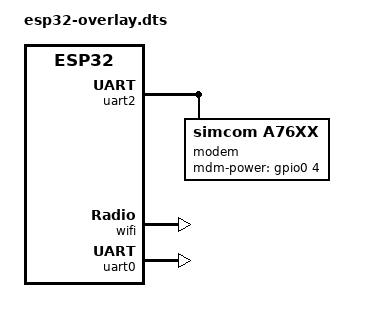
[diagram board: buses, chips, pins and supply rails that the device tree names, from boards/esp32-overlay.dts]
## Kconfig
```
source "Kconfig.zephyr"

menu "Adaptive Sockets"

config ADAPTIVE_SOCKETS_ENABLE
  bool "Enable adaptive sockets"
  default y
  help
    Enables the custom socket offload implementation to handle routing
    decisions between Wi-Fi and Cellular modem.

config ADAPTIVE_SOCKETS_PRIORITY
  int "Adaptive sockets priority"
  default 1
  range 0 99
  help
    Numerical priority for the custom offload. A lower number (e.g., 1)
    means higher priority, ensuring it is checked first.

config ADAPTIVE_SOCKETS_ENABLE_TEST
    bool "Enable adaptive sockets test mode"
    default n

endmenu
```

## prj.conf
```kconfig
# CONFIG_BOOTLOADER_MCUBOOT=y

CONFIG_LOG=y
CONFIG_LOG_DEFAULT_LEVEL=3
CONFIG_LOG_MODE_IMMEDIATE=y  
# CONFIG_LOG_MODE_MINIMAL=y
# CONFIG_NET_LOG=y
CONFIG_MODEM_LOG_LEVEL_DBG=y
# CONFIG_UART_LOG_LEVEL_DBG=y
# CONFIG_MODEM_CONTEXT_VERBOSE_DEBUG=y
CONFIG_UPDATEHUB_LOG_LEVEL_DBG=y
# CONFIG_NET_CONFIG_LOG_LEVEL_DBG=y
# CONFIG_WIFI_LOG_LEVEL_DBG=y
# CONFIG_NET_DHCPV4_LOG_LEVEL_DBG=y
# CONFIG_NET_CONTEXT_LOG_LEVEL_DBG=y
# CONFIG_NET_PKT_LOG_LEVEL_DBG=y


# # Wi-Fi Configuration
# CONFIG_WIFI=y

# # Network Configuration
# CONFIG_NET_CONFIG_AUTO_INIT=n
# CONFIG_ESP32_WIFI_STA_AUTO_DHCPV4=y
# CONFIG_NET_CONNECTION_MANAGER=y
# CONFIG_NET_IF_MAX_IPV4_COUNT=2
# CONFIG_NET_IPV4=y
# CONFIG_NET_IPV6=n
# CONFIG_NET_L2_ETHERNET=y
# CONFIG_NET_L2_WIFI_MGMT=y
# CONFIG_NET_MGMT=y
# CONFIG_NET_MGMT_EVENT=y
# CONFIG_NET_MGMT_EVENT_INFO=y
# CONFIG_NET_UDP=y
# CONFIG_NETWORKING=y
# CONFIG_COAP=y
# CONFIG_NET_SOCKETS=y
# # CONFIG_POSIX_API=y
# CONFIG_DNS_RESOLVER=n
# CONFIG_DNS_RESOLVER_AUTO_INIT=n
# CONFIG_NET_OFFLOAD=y

# # CONFIG_NET_MGMT_EVENT_QUEUE_SIZE=10
# # CONFIG_NET_MGMT_EVENT_STACK_SIZE=4096
# CONFIG_NET_PKT_RX_COUNT=8
# CONFIG_NET_PKT_TX_COUNT=8
# CONFIG_NET_BUF_RX_COUNT=20
# CONFIG_NET_BUF_TX_COUNT=20
# CONFIG_MAIN_STACK_SIZE=6114
# # CONFIG_ISR_STACK_SIZE=4096
# # CONFIG_NET_MGMT_EVENT_STACK_SIZE=5120
# CONFIG_MODEM_SIMCOM_A76XX_RX_STACK_SIZE=9216
# # CONFIG_MODEM_SIMCOM_A76XX_RX_WORKQ_STACK_SIZE=6114
# # CONFIG_NET_BUF_DATA_SIZE=512
# CONFIG_NET_RX_STACK_SIZE=4096
# # CONFIG_NET_TX_STACK_SIZE=7168
# CONFIG_HEAP_MEM_POOL_SIZE=8192
# CONFIG_SYSTEM_WORKQUEUE_STACK_SIZE=8192
# # Enable Shell
# # CONFIG_SHELL=y
# # CONFIG_SHELL_STACK_SIZE=2048


# CONFIG_MODEM=y
# CONFIG_MODEM_A76XX=y
# CONFIG_MODEM_SIM_NUMBERS=n
# CONFIG_MODEM_SIMCOM_A76XX_RAT_NB1=n
# CONFIG_MODEM_SIMCOM_A76XX_RAT_M1=n
# CONFIG_MODEM_SIMCOM_A76XX_RAT_GSM=y




# # Copyright (c) 2018-2020 O.S.Systems
# # SPDX-License-Identifier: Apache-2.0
# CONFIG_FLASH=y
# CONFIG_STREAM_FLASH=y
# CONFIG_FLASH_MAP=y
# CONFIG_REBOOT=y
# CONFIG_MCUBOOT_IMG_MANAGER=y
# CONFIG_IMG_MANAGER=y
# CONFIG_IMG_ENABLE_IMAGE_CHECK=y
# CONFIG_BOOTLOADER_MCUBOOT=y
# CONFIG_MPU_ALLOW_FLASH_WRITE=y
# CONFIG_NETWORKING=y
# CONFIG_NET_UDP=y
# CONFIG_NET_SOCKETS=y
# CONFIG_COAP=y
# CONFIG_DNS_RESOLVER=y
# CONFIG_JSON_LIBRARY=y
# CONFIG_HWINFO=y
# CONFIG_POSIX_API=y

# # Turn on the updatehub
# CONFIG_UPDATEHUB=y
# CONFIG_COAP_INIT_ACK_TIMEOUT_MS=30000

# # Heap mem pool size
# # CONFIG_HEAP_MEM_POOL_SIZE=10240

# # Network events
# CONFIG_NET_CONNECTION_MANAGER=y
# CONFIG_NET_CONFIG_SETTINGS=y
# CONFIG_NET_IPV4=y
# CONFIG_NET_DHCPV4=y
# CONFIG_NET_CONFIG_NEED_IPV4=y

# # Debug helpers
# CONFIG_MAX_THREAD_BYTES=3

# CONFIG_UPDATEHUB_PRODUCT_UID="e4d37cfe6ec48a2d069cc0bbb8b078677e9a0d8df3a027c4d8ea131130c4265f"
# CONFIG_UPDATEHUB_POLL_INTERVAL=1
# CONFIG_UPDATEHUB_CE=y
# #You need set the updatehub-ce ip Address.
# #This is a example of ip address
# CONFIG_UPDATEHUB_SERVER="52.207.250.14"


CONFIG_THREAD_NAME=y
CONFIG_LOG_THREAD_ID_PREFIX=y


# # CONFIG_NET_CONFIG_MY_IPV4_ADDR="192.168.191.155"

CONFIG_BOOTLOADER_MCUBOOT=y

# CONFIG_LOG=y
# CONFIG_LOG_DEFAULT_LEVEL=3
# CONFIG_LOG_MODE_IMMEDIATE=y  
# # CONFIG_LOG_MODE_MINIMAL=y
# CONFIG_NET_LOG=y
# CONFIG_MODEM_LOG_LEVEL_DBG=y
# # CONFIG_UART_LOG_LEVEL_DBG=y
# # CONFIG_MODEM_CONTEXT_VERBOSE_DEBUG=y
# CONFIG_UPDATEHUB_LOG_LEVEL_DBG=y
# CONFIG_NET_CONFIG_LOG_LEVEL_DBG=y
# CONFIG_WIFI_LOG_LEVEL_DBG=y
# CONFIG_NET_DHCPV4_LOG_LEVEL_DBG=y
# CONFIG_NET_CONTEXT_LOG_LEVEL_DBG=y


# Wi-Fi Configuration
CONFIG_WIFI=y

# Network Configuration
CONFIG_NET_CONFIG_AUTO_INIT=n
CONFIG_ESP32_WIFI_STA_AUTO_DHCPV4=y
CONFIG_NET_CONNECTION_MANAGER=y
CONFIG_NET_IF_MAX_IPV4_COUNT=2
CONFIG_NET_IPV4=y
CONFIG_NET_IPV6=n
CONFIG_NET_L2_ETHERNET=y
CONFIG_NET_L2_WIFI_MGMT=y
CONFIG_NET_MGMT=y
CONFIG_NET_MGMT_EVENT=y
CONFIG_NET_MGMT_EVENT_INFO=y
CONFIG_NET_UDP=y
CONFIG_NETWORKING=y
CONFIG_COAP=y
CONFIG_NET_SOCKETS=y
# CONFIG_POSIX_API=y
CONFIG_DNS_RESOLVER=n
CONFIG_DNS_RESOLVER_AUTO_INIT=n

CONFIG_NET_MGMT_EVENT_QUEUE_SIZE=10
# CONFIG_NET_MGMT_EVENT_STACK_SIZE=4096
# CONFIG_NET_PKT_RX_COUNT=24
# CONFIG_NET_PKT_TX_COUNT=24
CONFIG_MAIN_STACK_SIZE=4096
# CONFIG_ISR_STACK_SIZE=4096
# CONFIG_NET_MGMT_EVENT_STACK_SIZE=5120

CONFIG_NET_BUF_RX_COUNT=16
# CONFIG_NET_BUF_TX_COUNT=32
# CONFIG_NET_BUF_DATA_SIZE=512
CONFIG_NET_RX_STACK_SIZE=5120
# CONFIG_NET_TX_STACK_SIZE=4096
CONFIG_NET_PKT_RX_COUNT=32
# CONFIG_NET_PKT_TX_COUNT=64
# CONFIG_MODEM_SIMCOM_A76XX_SOCKET_PRIORITY=70

CONFIG_MODEM=y
CONFIG_MODEM_A76XX=y
CONFIG_MODEM_SIM_NUMBERS=n
CONFIG_MODEM_SIMCOM_A76XX_RAT_NB1=n
CONFIG_MODEM_SIMCOM_A76XX_RAT_M1=n
CONFIG_MODEM_SIMCOM_A76XX_RAT_GSM=y




# Copyright (c) 2018-2020 O.S.Systems
# SPDX-License-Identifier: Apache-2.0
CONFIG_FLASH=y
CONFIG_STREAM_FLASH=y
CONFIG_FLASH_MAP=y
CONFIG_REBOOT=y
CONFIG_MCUBOOT_IMG_MANAGER=y
CONFIG_IMG_MANAGER=y
CONFIG_IMG_ENABLE_IMAGE_CHECK=y
CONFIG_BOOTLOADER_MCUBOOT=y
CONFIG_MPU_ALLOW_FLASH_WRITE=y
CONFIG_NETWORKING=y
CONFIG_NET_UDP=y
CONFIG_NET_SOCKETS=y
CONFIG_COAP=y
CONFIG_DNS_RESOLVER=y
CONFIG_JSON_LIBRARY=y
CONFIG_HWINFO=y
CONFIG_POSIX_API=y

# Turn on the updatehub
CONFIG_UPDATEHUB=y
CONFIG_COAP_INIT_ACK_TIMEOUT_MS=10000

# Heap mem pool size
# CONFIG_HEAP_MEM_POOL_SIZE=10240
CONFIG_SYSTEM_WORKQUEUE_STACK_SIZE=10240

# Network events
CONFIG_NET_CONNECTION_MANAGER=y
CONFIG_NET_CONFIG_SETTINGS=y
CONFIG_NET_IPV4=y
CONFIG_NET_DHCPV4=y
CONFIG_NET_CONFIG_NEED_IPV4=y

# Enable Shell
# CONFIG_SHELL=y
# CONFIG_SHELL_STACK_SIZE=8192
# CONFIG_UPDATEHUB_SHELL=y
# CONFIG_NET_SHELL=y

# Debug helpers
# CONFIG_LOG=y
# CONFIG_UPDATEHUB_LOG_LEVEL_DBG=y

CONFIG_MAX_THREAD_BYTES=3

CONFIG_UPDATEHUB_PRODUCT_UID="e4d37cfe6ec48a2d069cc0bbb8b078677e9a0d8df3a027c4d8ea131130c4265f"
CONFIG_UPDATEHUB_POLL_INTERVAL=1

CONFIG_UPDATEHUB_CE=y

#You need set the updatehub-ce ip Address.
#This is a example of ip address
CONFIG_UPDATEHUB_SERVER="52.207.250.14"

CONFIG_NET_OFFLOAD=y

# CONFIG_NET_CONFIG_MY_IPV4_ADDR="192.168.191.155"
```

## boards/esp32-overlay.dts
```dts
/ {

	chosen {
		zephyr,console = &uart0;
		zephyr,shell-uart = &uart0;
	};

	aliases {
        modem-uart = &uart2;
		modem = &modem;
		adaptive-net-device-1 = &wifi;
		adaptive-net-device-2 = &modem;
		wifi = &wifi;
    };
};


&uart2 {
    modem: modem {
		compatible = "simcom,a76xx";
        mdm-power-gpios = <&gpio0 4 GPIO_ACTIVE_HIGH>;
		status = "okay";
	};
    status = "okay";
};


&wifi {
	status = "okay";
};

&uart0 {
	status = "okay";
};
```

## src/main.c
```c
/*
 * Copyright (c) 2024 Muhammad Haziq
 *
 * SPDX-License-Identifier: Apache-2.0
 */

#include <zephyr/logging/log.h>
LOG_MODULE_REGISTER(main, LOG_LEVEL_DBG);

#include <zephyr/kernel.h>
#include <zephyr/net/wifi_mgmt.h>
#include <stdio.h>
#include <zephyr/net/net_ip.h>
#include <zephyr/net/socket.h>
#include <zephyr/net/udp.h>
#include <zephyr/net/coap.h>
#include <zephyr/posix/sys/socket.h>
#include "net_private.h"
#include "adaptive-sockets.h"
#include <zephyr/mgmt/updatehub.h>
#include <zephyr/net/net_mgmt.h>
#include <zephyr/net/net_event.h>
#include <zephyr/net/conn_mgr_monitor.h>
#include <zephyr/net/net_if.h>
#include <zephyr/net/net_core.h>
#include <zephyr/device.h>
#include <zephyr/net/net_config.h>

#define CONFIG_WIFI_SAMPLE_SSID "Openserve-8B43"
#define CONFIG_WIFI_SAMPLE_PSK "RctVkh8VLh"
// #define CONFIG_WIFI_SAMPLE_SSID "My Wifi"
// #define CONFIG_WIFI_SAMPLE_PSK "G4JR2H98"
#define UPDATE_SERVER_IP_ADDRESS "52.207.250.14"
#define WIFI_DEV_NODE DT_ALIAS(wifi)
const struct device *wifi_dev = DEVICE_DT_GET(WIFI_DEV_NODE);
static struct net_if *sta_iface;
static struct wifi_connect_req_params sta_config;
static struct net_mgmt_event_callback wifi_connection_cb;
static struct net_mgmt_event_callback wifi_ipv4_cb;
static struct k_sem wifi_connection_sem;
static struct k_sem wifi_ip_address_sem;

// static void print_ip_addr(struct net_if *iface)
// {
//     struct net_if_addr *if_addr;
//     const struct in_addr *gateway;
//     char hr_addr[NET_IPV4_ADDR_LEN];
//     char iface_name[20];

//     if (iface->if_dev->dev->name) {
//         strncpy(iface_name, iface->if_dev->dev->name, sizeof(iface_name) - 1);
//         iface_name[sizeof(iface_name) - 1] = '\0';
//     } else {
//         strncpy(iface_name, "Unknown", sizeof(iface_name));
//     }

//     // 1. Log IP Address
//     if_addr = net_if_get_primary_addr(iface);
//     if (if_addr) {
//         LOG_INF("Interface [%s] IP: %s",
//                 iface_name,
//                 net_addr_ntop(AF_INET, &if_addr->address.in_addr, hr_addr, sizeof(hr_addr)));
//     } else {
//         LOG_WRN("Interface [%s] has no IP address assigned.", iface_name);
//     }

//     // 2. Log Gateway Address
//     gateway = net_if_ipv4_get_gw(iface);
//     if (gateway && gateway->s_addr) {
//         LOG_INF("Interface [%s] GW: %s",
//                 iface_name,
//                 net_addr_ntop(AF_INET, gateway, hr_addr, sizeof(hr_addr)));
//     } else {
//         LOG_WRN("Interface [%s] has NO Gateway assigned.", iface_name);
//     }
// }

static void wifi_connection_event_handler(struct net_mgmt_event_callback *cb, uint64_t mgmt_event, struct net_if *iface)
{
    switch (mgmt_event)
    {
    case NET_EVENT_WIFI_CONNECT_RESULT:
    {
        LOG_INF("Connected to %s", CONFIG_WIFI_SAMPLE_SSID);
        k_sem_give(&wifi_connection_sem);
        // LOG_INF("Gave wifi_connection_sem.");
        // LOG_DBG("wifi_connection_event_handler: default net if is %s.", net_if_get_default()->if_dev->dev->name);
        // int ret = net_config_init_by_iface(iface, "Initializing network", NET_CONFIG_NEED_IPV4,
        //                                    CONFIG_NET_CONFIG_INIT_TIMEOUT * MSEC_PER_SEC);
        // net_config_init_app(wifi_dev, "Initializing network");
        break;
    }
    case NET_EVENT_WIFI_DISCONNECT_RESULT:
    {
        LOG_INF("Disconnected from %s", CONFIG_WIFI_SAMPLE_SSID);
        break;
    }
    default:
        break;
    }
}

static void wifi_ipv4_event_handler(struct net_mgmt_event_callback *cb, uint64_t mgmt_event, struct net_if *iface)
{
    if (mgmt_event == NET_EVENT_IPV4_ADDR_ADD)
    {
        // LOG_DBG("Got an IP address");
        // print_ip_addr(net_if_get_wifi_sta());
        k_sem_give(&wifi_ip_address_sem);
        // LOG_INF("Gave wifi_ip_address_sem.");
    }
}

static int init_wifi(void)
{
    k_sleep(K_SECONDS(5));
    k_sem_init(&wifi_connection_sem, 0, 1);
    k_sem_init(&wifi_ip_address_sem, 0, 1);
    net_mgmt_init_event_callback(
        &wifi_connection_cb,
        wifi_connection_event_handler,
        NET_EVENT_WIFI_CONNECT_RESULT | NET_EVENT_WIFI_DISCONNECT_RESULT);
    net_mgmt_init_event_callback(
        &wifi_ipv4_cb,
        wifi_ipv4_event_handler,
        NET_EVENT_IPV4_ADDR_ADD);
    net_mgmt_add_event_callback(&wifi_connection_cb);
    net_mgmt_add_event_callback(&wifi_ipv4_cb);
    sta_iface = net_if_get_wifi_sta();
    net_if_set_default(sta_iface);
    k_sleep(K_SECONDS(5));
    return 0;
}

static int connect_to_wifi(void)
{

    if (!sta_iface)
    {
        LOG_ERR("Station interface not initialized.");
        return -EIO;
    }

    sta_config.ssid = (const uint8_t *)CONFIG_WIFI_SAMPLE_SSID;
    sta_config.ssid_length = sizeof(CONFIG_WIFI_SAMPLE_SSID) - 1;
    sta_config.psk = (const uint8_t *)CONFIG_WIFI_SAMPLE_PSK;
    sta_config.psk_length = sizeof(CONFIG_WIFI_SAMPLE_PSK) - 1;
    sta_config.security = WIFI_SECURITY_TYPE_PSK;
    sta_config.channel = WIFI_CHANNEL_ANY;
    sta_config.band = WIFI_FREQ_BAND_2_4_GHZ;

    // LOG_INF("Connecting to SSID: %s\n", sta_config.ssid);

    int ret = net_mgmt(NET_REQUEST_WIFI_CONNECT, sta_iface, &sta_config,
                       sizeof(struct wifi_connect_req_params));
    if (ret)
    {
        // LOG_ERR("Unable to Connect to (%s)", CONFIG_WIFI_SAMPLE_SSID);
    }

    return ret;
}

static int wait_for_wifi(void)
{
    // LOG_DBG("Waiting for wifi...");
    k_sem_take(&wifi_connection_sem, K_FOREVER);
    k_sem_take(&wifi_ip_address_sem, K_FOREVER);
}

#define MAX_COAP_MSG_LEN 256
static const char *const test_path[] = {"hello", NULL};

static int send_simple_coap_request(int sock, uint8_t method)
{
    uint8_t payload[] = "payload";
    struct coap_packet request;
    const char *const *p;
    uint8_t *data;
    int r;

    data = (uint8_t *)k_calloc(MAX_COAP_MSG_LEN, 1);
    if (!data)
    {
        return -ENOMEM;
    }

    r = coap_packet_init(&request, data, MAX_COAP_MSG_LEN,
                         COAP_VERSION_1, COAP_TYPE_CON,
                         COAP_TOKEN_MAX_LEN, coap_next_token(),
                         method, coap_next_id());
    if (r < 0)
    {
        LOG_ERR("Failed to init CoAP message");
        goto end;
    }

    for (p = test_path; p && *p; p++)
    {
        r = coap_packet_append_option(&request, COAP_OPTION_URI_PATH,
                                      *p, strlen(*p));
        if (r < 0)
        {
            LOG_ERR("Unable add option to request");
            goto end;
        }
    }

    switch (method)
    {
    case COAP_METHOD_GET:
    case COAP_METHOD_DELETE:
        break;

    case COAP_METHOD_PUT:
    case COAP_METHOD_POST:
        r = coap_packet_append_payload_marker(&request);
        if (r < 0)
        {
            LOG_ERR("Unable to append payload marker");
            goto end;
        }

        r = coap_packet_append_payload(&request, (uint8_t *)payload,
                                       sizeof(payload) - 1);
        if (r < 0)
        {
            LOG_ERR("Not able to append payload");
            goto end;
        }

        break;
    default:
        r = -EINVAL;
        goto end;
    }

    net_hexdump("Request", request.data, request.offset);

    r = zsock_send(sock, request.data, request.offset, 0);

end:
    k_free(data);

    return r;
}

static int process_simple_coap_reply(int sock)
{
    struct coap_packet reply;
    uint8_t *data;
    int rcvd;
    int ret;

    LOG_DBG("Starting to process simple CoAP reply...");

    data = (uint8_t *)k_calloc(MAX_COAP_MSG_LEN, 1);
    if (!data)
    {
        LOG_ERR("Failed to allocate memory for storing coap response.");
        return -ENOMEM;
    }

    rcvd = zsock_recv(sock, data, MAX_COAP_MSG_LEN, MSG_DONTWAIT);
    if (rcvd == 0)
    {
        LOG_ERR("Received zero bytes.");
        ret = -EIO;
        goto end;
    }

    // if (rcvd < 0)
    // {
    //     LOG_ERR("Something went wrong when recieving data.");
    //     if (errno == EAGAIN || errno == EWOULDBLOCK)
    //     {
    //         ret = 0;
    //     }
    //     else
    //     {
    //         ret = -errno;
    //     }

    //     goto end;
    // }

    net_hexdump("Response", data, rcvd);

    ret = coap_packet_parse(&reply, data, rcvd, NULL, 0);
    if (ret < 0)
    {
        LOG_ERR("Invalid data received");
    }

    /*
     * THE FIX: Extract and print the human-readable payload.
     */
    uint8_t *payload;
    uint16_t payload_len;

    payload = coap_packet_get_payload(&reply, &payload_len);
    if (payload && payload_len > 0)
    {
        /*
         * Use the %.*s format specifier to print the payload,
         * which is not a null-terminated string.
         */
        LOG_INF("CoAP response payload: %.*s", payload_len, payload);
    }
    else
    {
        LOG_WRN("CoAP response has no payload.");
    }

end:
    k_free(data);

    return ret;
}

int main(void)
{
    k_sleep(K_SECONDS(5));

    /* The image of application needed be confirmed */
    LOG_INF("Confirming the boot image");
    int ret = updatehub_confirm();
    if (ret < 0)
    {
        LOG_ERR("Error to confirm the image!");
    }
    else
    {
        LOG_INF("Confirmed the boot image.");
    }
    k_sleep(K_SECONDS(5));
    init_wifi();
    connect_to_wifi();
    wait_for_wifi();
    LOG_DBG("Initializing adaptive sockets...");
    adaptive_sockets_init();
    LOG_DBG("Starting updatehub...");
    updatehub_autohandler();


    // int i = 1;
    // while (true) {
    //     LOG_DBG("Sending hello request #%d...", i);
    //     ret = 0;
    //     struct sockaddr_in addr;
    //     addr.sin_family = AF_INET;
    //     addr.sin_port = htons(5683);
    //     net_addr_pton(AF_INET, "134.102.218.18", &addr.sin_addr);

    //     int sock = zsock_socket(addr.sin_family, SOCK_DGRAM, IPPROTO_UDP);
    //     if (sock < 0)
    //     {
    //         LOG_ERR("Failed to create UDP socket %d", errno);
    //         return -sock;
    //     }
    //     else
    //     {
    //         LOG_DBG("Created socket with fd %d.", sock);
    //     }

    //     ret = zsock_connect(sock, (struct sockaddr *)&addr, sizeof(addr));
    //     if (ret < 0)
    //     {
    //         LOG_ERR("Cannot connect to UDP remote : %d", errno);
    //         return -ret;
    //     }
    //     else
    //     {
    //         LOG_INF("Connected to UDP remote.");
    //     }

    //     ret = send_simple_coap_request(sock, COAP_METHOD_GET);
    //     if (ret < 0)
    //     {
    //         LOG_ERR("Failed to send coap request. Error code %d.", ret);
    //         return ret;
    //     }
    //     else
    //     {
    //         LOG_INF("Sent coap request successfully");
    //     }

    //     ret = process_simple_coap_reply(sock);
    //     if (ret < 0)
    //     {
    //         LOG_ERR("Error process_simple_coap_reply: %d", errno);
    //     }
    //     else
    //     {
    //         LOG_INF("Processed coap reply correctly.");
    //     }
    //     zsock_close(sock);
    //     LOG_DBG("Starting to sleep.");
    //     k_msleep(10000);
    //     LOG_DBG("Done sleeping.");
    //     i++;
    // }

    return 0;
}
```
